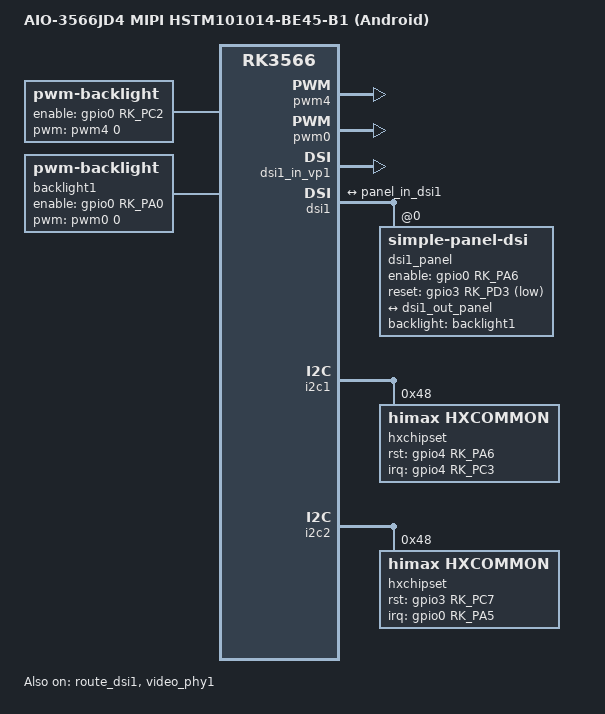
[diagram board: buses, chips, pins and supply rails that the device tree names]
// SPDX-License-Identifier: (GPL-2.0+ OR MIT)
/*
 * Copyright (c) 2020 Rockchip Electronics Co., Ltd.
 *
 */

 /dts-v1/;

#include "rk3566-firefly-aiojd4.dtsi"

/ {
    model = "AIO-3566JD4 MIPI HSTM101014-BE45-B1 (Android)";
    compatible = "rockchip,rk3566-firefly-aiojd4", "rockchip,rk3566";

    backlight: backlight {
        status = "okay";
        compatible = "pwm-backlight";
        enable-gpios = <&gpio0 RK_PC2 GPIO_ACTIVE_HIGH>;
        pwms = <&pwm4 0 50000 1>;
        brightness-levels = <
             60  60  60  60  60  60  60  60
             60  60  60  60  60  60  60  60
             60  60  60  60  60  60  60  60
             60  60  60  60  60  60  60  60
             60  60  60  60  60  60  60  60
             60  60  60  60  60  60  60  60
             60  60  60  60  60  60  60  60
             60  60  60  60  60  61  62  63
             64  65  66  67  68  69  70  71
             72  73  74  75  76  77  78  79
             80  81  82  83  84  85  86  87
             88  89  90  91  92  93  94  95
             96  97  98  99 100 101 102 103
            104 105 106 107 108 109 110 111
            112 113 114 115 116 117 118 119
            120 121 122 123 124 125 126 127
            128 129 130 131 132 133 134 135
            136 137 138 139 140 141 142 143
            144 145 146 147 148 149 150 151
            152 153 154 155 156 157 158 159
            160 161 162 163 164 165 166 167
            168 169 170 171 172 173 174 175
            176 177 178 179 180 181 182 183
            184 185 186 187 188 189 190 191
            192 193 194 195 196 197 198 199
            200 201 202 203 204 205 206 207
            208 209 210 211 212 213 214 215
            216 217 218 219 220 221 222 223
            224 225 226 227 228 229 230 231
            232 233 234 235 236 237 238 239
            240 241 242 243 244 245 246 247
            248 249 250 251 252 253 254 255
        >;
        default-brightness-level = <200>;
    };

    backlight1: backlight1 {
        status = "okay";
        compatible = "pwm-backlight";
        enable-gpios = <&gpio0 RK_PA0 GPIO_ACTIVE_HIGH>;
        pwms = <&pwm0 0 50000 1>;
        brightness-levels = <
             60  60  60  60  60  60  60  60
             60  60  60  60  60  60  60  60
             60  60  60  60  60  60  60  60
             60  60  60  60  60  60  60  60
             60  60  60  60  60  60  60  60
             60  60  60  60  60  60  60  60
             60  60  60  60  60  60  60  60
             60  60  60  60  60  61  62  63
             64  65  66  67  68  69  70  71
             72  73  74  75  76  77  78  79
             80  81  82  83  84  85  86  87
             88  89  90  91  92  93  94  95
             96  97  98  99 100 101 102 103
            104 105 106 107 108 109 110 111
            112 113 114 115 116 117 118 119
            120 121 122 123 124 125 126 127
            128 129 130 131 132 133 134 135
            136 137 138 139 140 141 142 143
            144 145 146 147 148 149 150 151
            152 153 154 155 156 157 158 159
            160 161 162 163 164 165 166 167
            168 169 170 171 172 173 174 175
            176 177 178 179 180 181 182 183
            184 185 186 187 188 189 190 191
            192 193 194 195 196 197 198 199
            200 201 202 203 204 205 206 207
            208 209 210 211 212 213 214 215
            216 217 218 219 220 221 222 223
            224 225 226 227 228 229 230 231
            232 233 234 235 236 237 238 239
            240 241 242 243 24 245 246 247
            248 249 250 251 252 253 254 255
        >;
        default-brightness-level = <200>;
    };
};

&pwm4{
	status = "okay";
};

&pwm0{
	status = "okay";
	pinctrl-0 = <&pwm0m1_pins>;
};

&route_dsi0 {
    status = "disabled";
    connect = <&vp0_out_dsi0>;
};

&video_phy0 {
    status = "disabled";
};

&dsi0_in_vp0 {
    status = "disabled";
};

&dsi0_in_vp1 {
    status = "disabled";
};

/*
 * video_phy0 needs to be enabled
 * when dsi0 is enabled
 */
&dsi0 {
    status = "disabled";
    //rockchip,lane-rate = <1000>;
    dsi0_panel: panel@0 {
        status = "okay";
        compatible = "simple-panel-dsi";
        reg = <0>;
	    backlight = <&backlight>;

        enable-gpios = <&gpio4 RK_PB5 GPIO_ACTIVE_HIGH>;
        reset-gpios = <&gpio3 RK_PC6 GPIO_ACTIVE_LOW>;
        //reset-tp-gpio =  <&gpio0 RK_PB5 IRQ_TYPE_LEVEL_LOW>;
        enable-delay-ms = <35>;
        prepare-delay-ms = <6>;
        reset-delay-ms = <25>;
        init-delay-ms = <55>;
        unprepare-delay-ms = <0>;
	    disable-delay-ms = <20>;
        mipi-data-delay-ms = <200>;
        size,width = <120>;
        size,height = <170>;
        dsi,flags = <(MIPI_DSI_MODE_VIDEO | MIPI_DSI_MODE_VIDEO_BURST | MIPI_DSI_MODE_LPM | MIPI_DSI_MODE_EOT_PACKET)>;
        dsi,format = <MIPI_DSI_FMT_RGB888>;
        dsi,lanes  = <4>;

        panel-init-sequence = [
            05 78 01 11
            05 32 01 29
        ];

        panel-exit-sequence = [
            05 00 01 28
            05 00 01 10
        ];

        disp_timings0: display-timings {
            native-mode = <&dsi0_timing0>;
            dsi0_timing0: timing0 {
                clock-frequency = <72600000>;//<80000000>;
                hactive = <800>;//<768>;
                vactive = <1280>;
                hsync-len = <14>;   //20, 50,10
                hback-porch = <26>; //50, 56,10
                hfront-porch = <32>;//50, 30,180
                vsync-len = <8>;//4
                vback-porch = <20>;//4
                vfront-porch = <80>;//8
                hsync-active = <0>;
                vsync-active = <0>;
                de-active = <0>;
                pixelclk-active = <0>;
            };
        };

        ports {
            #address-cells = <1>;
            #size-cells = <0>;

            port@0 {
                reg = <0>;
                panel_in_dsi: endpoint {
                    remote-endpoint = <&dsi_out_panel>;
                };
            };
        };
    };

    ports {
        #address-cells = <1>;
        #size-cells = <0>;

        port@1 {
            reg = <1>;
            dsi_out_panel: endpoint {
            remote-endpoint = <&panel_in_dsi>;
            };
        };
	};
};

&route_dsi1 {
    status = "okay";
    connect = <&vp1_out_dsi1>;
};

&video_phy1 {
    status = "okay";
};

&dsi1_in_vp0 {
    status = "disabled";
};

&dsi1_in_vp1 {
    status = "okay";
};

/*
 * video_phy1 needs to be enabled
 * when dsi1 is enabled
 */
&dsi1 {
    status = "okay";
    //rockchip,lane-rate = <1000>;
    dsi1_panel: panel@0 {
        status = "okay";
        compatible = "simple-panel-dsi";
        reg = <0>;
        backlight = <&backlight1>;

        enable-gpios = <&gpio0 RK_PA6 GPIO_ACTIVE_HIGH>;
	    reset-gpios = <&gpio3 RK_PD3 GPIO_ACTIVE_LOW>;
        //tp-reset-delay-ms = <20>;
        enable-delay-ms = <120>;
        prepare-delay-ms = <20>;
        reset-delay-ms = <20>;
        init-delay-ms = <20>;
        unprepare-delay-ms = <20>;
        disable-delay-ms = <20>;
        //mipi-data-delay-ms = <200>;
        size,width = <120>;
        size,height = <170>;
        dsi,flags = <(MIPI_DSI_MODE_VIDEO | MIPI_DSI_MODE_VIDEO_BURST | MIPI_DSI_MODE_LPM | MIPI_DSI_MODE_EOT_PACKET)>;
        dsi,format = <MIPI_DSI_FMT_RGB888>;
        dsi,lanes  = <4>;

        panel-init-sequence = [
            05 78 01 11
            05 32 01 29
        ];

        panel-exit-sequence = [
            05 00 01 28
            05 00 01 10
        ];

        disp_timings1: display-timings {
            native-mode = <&dsi1_timing0>;
            dsi1_timing0: timing0 {
                clock-frequency = <72600000>;//<80000000>;
                hactive = <800>;//<768>;
                vactive = <1280>;
                hsync-len = <14>;   //20, 50,10
                hback-porch = <26>; //50, 56,10
                hfront-porch = <32>;//50, 30,180
                vsync-len = <8>;//4
                vback-porch = <20>;//4
                vfront-porch = <80>;//8
                hsync-active = <0>;
                vsync-active = <0>;
                de-active = <0>;
                pixelclk-active = <0>;
            };
        };


        ports {
            #address-cells = <1>;
            #size-cells = <0>;

            port@0 {
                reg = <0>;
                panel_in_dsi1: endpoint {
                    remote-endpoint = <&dsi1_out_panel>;
                };
            };
        };
	};

    ports {
        #address-cells = <1>;
        #size-cells = <0>;

        port@1 {
            reg = <1>;
            dsi1_out_panel: endpoint {
            remote-endpoint = <&panel_in_dsi1>;
            };
        };
	};
};

&i2c1 {
    status = "okay";
    focaltech@38 {
    status = "disabled";
        compatible = "focaltech,ft8201";
        reg = <0x38>;
        //focaltech,power-gpio = <&gpio0 RK_PC7 GPIO_ACTIVE_HIGH>;
        focaltech,irq-gpio = <&gpio4 RK_PC3 IRQ_TYPE_LEVEL_LOW>;
        focaltech,reset-gpio = <&gpio4 RK_PA6 GPIO_ACTIVE_LOW>;
        focaltech,display-coords =  <0 0 800 1280>;// x_min, y_min, x_max, y_max
        focaltech,max-touch-number = <5>;
        //focaltech,have-key;
        //focaltech,key-number = <3>;
    };

    hxchipset@48{
        status = "okay";
        compatible = "himax,hxcommon";
        reg = <0x48>;

        himax,rst-gpio = <&gpio4 RK_PA6 GPIO_ACTIVE_HIGH>;
        himax,irq-gpio = <&gpio4 RK_PC3 IRQ_TYPE_LEVEL_LOW>;
        //himax,3v3-gpio = <&gpio0 RK_PB4 GPIO_ACTIVE_HIGH>;
        //himax,pon-gpio = <&gpio0 RK_PB4 GPIO_ACTIVE_HIGH>;

        himax,panel-coords = <0 800 0 1280>;      //触摸范围
        himax,display-coords = <0 800 0 1280>;    //分辨率
        report_type = <1>;
    };
};

&i2c2 {
	status = "okay";

    focaltech@38 {
        status = "disabled";
        compatible = "focaltech,ft8201";
        reg = <0x38>;
        //focaltech,power-gpio = <&pca9555 PCA_IO0_7 GPIO_ACTIVE_HIGH>;
        focaltech,irq-gpio = <&gpio0 RK_PA5 IRQ_TYPE_LEVEL_LOW>;
        focaltech,reset-gpio = <&gpio3 RK_PC7 GPIO_ACTIVE_LOW>;
        focaltech,display-coords =  <0 0 800 1280>;// x_min, y_min, x_max, y_max
        focaltech,max-touch-number = <5>;
        //focaltech,have-key;
        //focaltech,key-number = <3>;
    };

    hxchipset@48{ 
        status = "okay";
        compatible = "himax,hxcommon";
        reg = <0x48>;                   
    
        himax,rst-gpio = <&gpio3 RK_PC7 GPIO_ACTIVE_HIGH>;
        himax,irq-gpio = <&gpio0 RK_PA5 IRQ_TYPE_LEVEL_LOW>;
        //himax,3v3-gpio = <&gpio0 RK_PB4 GPIO_ACTIVE_HIGH>;
        //himax,pon-gpio = <&gpio0 RK_PB4 GPIO_ACTIVE_HIGH>;
                
        himax,panel-coords = <0 800 0 1280>;      //触摸范围
        himax,display-coords = <0 800 0 1280>;    //分辨率
        report_type = <1>;
    };
};

&route_hdmi {
    status = "disabled";
    connect = <&vp0_out_hdmi>;
};

&hdmi {
    status = "disabled";
};

&hdmi_in_vp0 {
    status = "disabled";
};

&hdmi_in_vp1 {
    status = "disabled";
};
